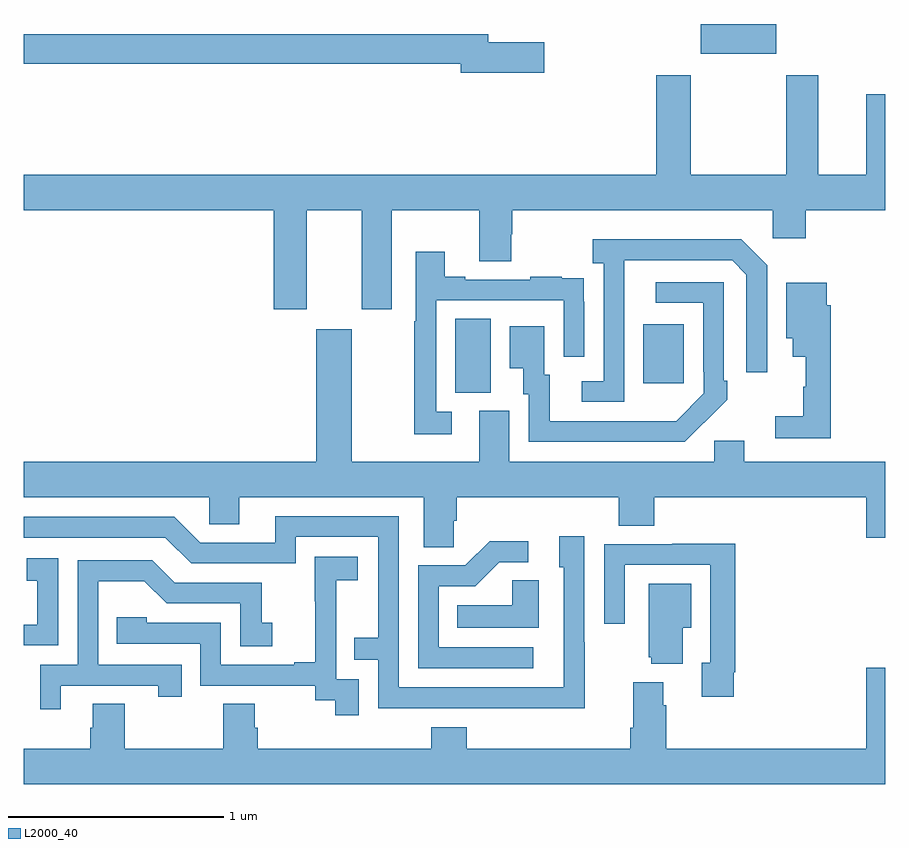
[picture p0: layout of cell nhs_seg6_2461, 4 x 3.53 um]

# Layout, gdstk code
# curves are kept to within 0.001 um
import gdstk
lib = gdstk.Library(unit=1e-6, precision=1e-09)
def R(c, l, rs):  # rectangles x0, y0, x1, y1
    for r in rs: c.add(gdstk.rectangle(r[:2], r[2:], *l))
def P(c, l, *ps):  # polygons
    for p in ps: c.add(gdstk.Polygon(p, *l))
L2000_40 = (2000, 40)

nhs_seg6_2461 = lib.new_cell('nhs_seg6_2461')
R(nhs_seg6_2461, L2000_40, [(259.004,979.789,259.168,980.132), (259.877,979.833,260.065,980.107), (260.144,981.362,260.494,981.5)])
P(nhs_seg6_2461, L2000_40, [(259.416,981.416),(259.156,981.416),(259.156,981.452),(257,981.452),(257,981.316),(259.028,981.316),(259.028,981.274),(259.416,981.274)],
  [(258.313,980.636),(258.569,980.636),(258.569,980.175),(258.709,980.175),(258.709,980.636),(259.115,980.636),(259.115,980.398),(259.263,980.398),(259.263,980.523),(259.267,980.523),(259.267,980.636),(260.478,980.636),(260.478,980.505),(260.63,980.505),(260.63,980.636),(261,980.636),(261,981.175),(260.912,981.175),(260.912,980.8),(260.689,980.8),(260.689,981.262),(260.541,981.262),(260.541,980.8),(260.097,980.8),(260.097,981.262),(259.937,981.262),(259.937,980.8),(257,980.8),(257,980.636),(258.161,980.636),(258.161,980.175),(258.313,980.175)],
  [(259.788,980.203),(259.789,980.403),(260.289,980.403),(260.355,980.337),(260.355,979.884),(260.451,979.884),(260.451,980.379),(260.33,980.5),(259.641,980.5),(259.641,980.39),(259.692,980.39),(259.692,979.842),(259.59,979.842),(259.59,979.746),(259.788,979.746)],
  [(258.988,979.701),(258.915,979.701),(258.915,980.217),(259.506,980.217),(259.506,979.956),(259.602,979.956),(259.602,980.21),(259.601,980.21),(259.601,980.319),(259.499,980.319),(259.499,980.326),(259.351,980.326),(259.351,980.313),(259.051,980.313),(259.051,980.326),(258.955,980.326),(258.955,980.443),(258.819,980.443),(258.819,980.12),(258.814,980.12),(258.814,979.596),(258.988,979.596)],
  [(260.159,979.651),(260.16,979.65),(260.265,979.755),(260.265,979.843),(260.25,979.843),(260.25,980.301),(259.935,980.301),(259.935,980.205),(260.154,980.205),(260.154,979.885),(260.157,979.885),(260.157,979.785),(260.029,979.657),(259.441,979.656),(259.441,979.872),(259.417,979.872),(259.417,980.098),(259.256,980.098),(259.256,979.901),(259.319,979.901),(259.319,979.782),(259.344,979.782),(259.344,979.56),(260.068,979.56)],
  [(260.747,980.195),(260.728,980.195),(260.728,980.299),(260.54,980.299),(260.54,980.042),(260.57,980.042),(260.57,979.955),(260.63,979.955),(260.63,979.815),(260.619,979.815),(260.619,979.679),(260.49,979.679),(260.49,979.578),(260.747,979.578)],
  [(258.996,979.195),(259.01,979.195),(259.01,979.304),(259.763,979.304),(259.763,979.171),(259.928,979.171),(259.928,979.304),(260.912,979.304),(260.912,979.116),(261,979.116),(261,979.468),(260.344,979.468),(260.344,979.566),(260.205,979.566),(260.205,979.468),(259.255,979.468),(259.255,979.704),(259.115,979.704),(259.115,979.468),(258.523,979.468),(258.523,980.083),(258.359,980.083),(258.359,979.468),(257,979.468),(257,979.304),(257.862,979.304),(257.862,979.177),(258.001,979.177),(258.001,979.304),(258.857,979.304),(258.857,979.072),(258.996,979.072)],
  [(259.605,978.629),(259.602,978.629),(259.602,979.123),(259.487,979.123),(259.487,978.978),(259.506,978.978),(259.506,978.42),(258.741,978.42),(258.741,979.215),(258.167,979.215),(258.167,979.092),(257.82,979.092),(257.7,979.212),(257,979.212),(257,979.116),(257.658,979.116),(257.778,978.996),(258.264,978.996),(258.264,979.119),(258.645,979.119),(258.645,978.65),(258.535,978.65),(258.535,978.549),(258.645,978.549),(258.645,978.324),(259.605,978.323)],
  [(259.366,978.606),(258.927,978.606),(258.927,978.891),(259.096,978.891),(259.207,979.002),(259.342,979.002),(259.342,979.1),(259.163,979.1),(259.05,978.987),(258.831,978.987),(258.831,978.51),(259.366,978.51)],
  [(260.296,978.49),(260.303,978.49),(260.303,979.088),(260.011,979.088),(260.011,979.086),(259.695,979.086),(259.695,978.717),(259.791,978.717),(259.791,978.99),(260.187,978.99),(260.187,978.534),(260.147,978.534),(260.147,978.378),(260.296,978.378)],
  [(258.555,978.459),(258.45,978.459),(258.45,978.689),(258.452,978.689),(258.452,978.917),(258.55,978.917),(258.55,979.027),(258.352,979.027),(258.352,978.821),(258.353,978.821),(258.353,978.538),(258.257,978.538),(258.257,978.525),(257.916,978.525),(257.916,978.72),(257.571,978.72),(257.571,978.747),(257.431,978.747),(257.431,978.624),(257.82,978.624),(257.82,978.429),(258.354,978.429),(258.354,978.361),(258.447,978.361),(258.447,978.291),(258.555,978.291)],
  [(257.16,979.021),(257.014,979.021),(257.014,978.915),(257.063,978.915),(257.063,978.711),(257,978.711),(257,978.615),(257.16,978.615)],
  [(257.173,978.429),(257.624,978.429),(257.624,978.378),(257.735,978.378),(257.735,978.525),(257.346,978.525),(257.346,978.914),(257.56,978.914),(257.664,978.81),(258.006,978.81),(258.006,978.612),(258.154,978.612),(258.154,978.721),(258.105,978.721),(258.105,978.906),(257.701,978.906),(257.596,979.011),(257.25,979.011),(257.25,978.525),(257.076,978.525),(257.076,978.318),(257.173,978.318)],
  [(259.39,978.917),(259.269,978.917),(259.269,978.802),(259.012,978.802),(259.012,978.698),(259.39,978.698)],
  [(260.059,978.698),(260.098,978.698),(260.098,978.901),(259.901,978.901),(259.901,978.561),(259.913,978.561),(259.913,978.53),(260.059,978.53)],
  [(261,978.511),(260.912,978.511),(260.912,978.136),(259.982,978.136),(259.982,978.338),(259.969,978.338),(259.969,978.445),(259.829,978.445),(259.829,978.232),(259.817,978.232),(259.817,978.136),(259.058,978.136),(259.058,978.235),(258.892,978.235),(258.892,978.136),(258.086,978.136),(258.086,978.234),(258.073,978.234),(258.073,978.344),(257.926,978.344),(257.926,978.136),(257.469,978.136),(257.469,978.344),(257.321,978.344),(257.321,978.234),(257.309,978.234),(257.309,978.136),(257,978.136),(257,977.972),(261,977.972)])

lib.write_gds('nhs_seg6_2461.gds')
